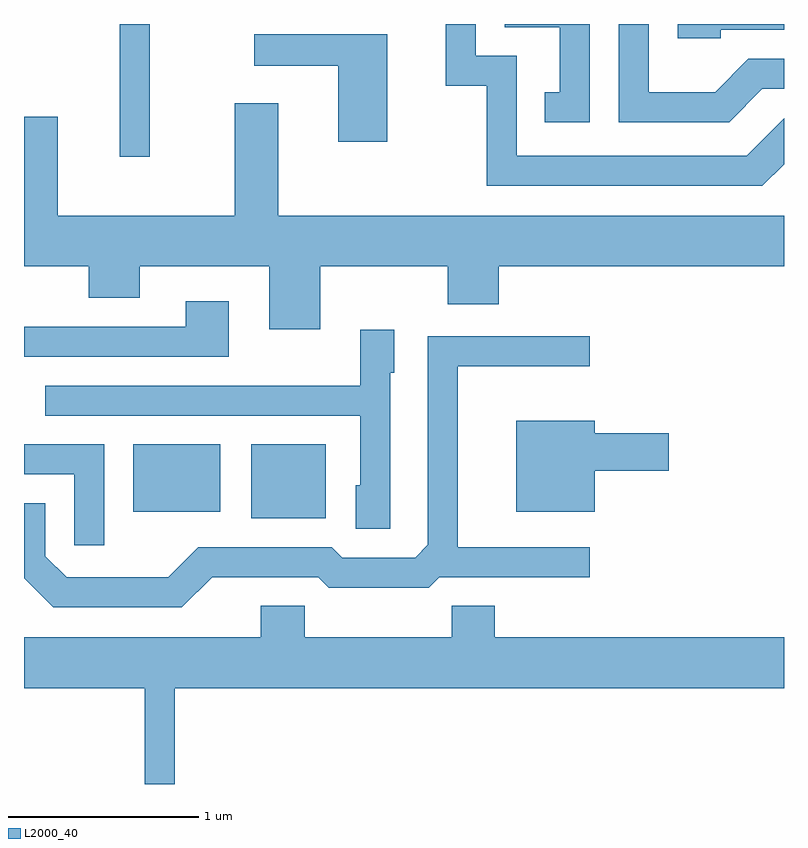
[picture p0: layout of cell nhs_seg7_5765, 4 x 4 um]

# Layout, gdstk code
import gdstk
lib = gdstk.Library(unit=1e-6, precision=1e-09)
def R(c, l, rs):  # rectangles x0, y0, x1, y1
    for r in rs: c.add(gdstk.rectangle(r[:2], r[2:], *l))
def P(c, l, *ps):  # polygons
    for p in ps: c.add(gdstk.Polygon(p, *l))
L2000_40 = (2000, 40)

nhs_seg7_5765 = lib.new_cell('nhs_seg7_5765')
R(nhs_seg7_5765, L2000_40, [(362.806,1719.651,363.199,1720.039), (362.186,1719.686,362.644,1720.039), (362.116,1721.553,362.274,1722.252)])
P(nhs_seg7_5765, L2000_40, [(365.497,1721.911),(365.611,1721.911),(365.611,1722.069),(365.424,1722.069),(365.249,1721.894),(364.899,1721.894),(364.899,1722.252),(364.741,1722.252),(364.741,1721.736),(365.322,1721.736)],
  [(364.589,1722.252),(364.141,1722.252),(364.141,1722.236),(364.431,1722.236),(364.431,1721.894),(364.353,1721.894),(364.353,1721.736),(364.589,1721.736)],
  [(365.279,1722.221),(365.611,1722.221),(365.611,1722.252),(365.051,1722.252),(365.051,1722.176),(365.279,1722.176)],
  [(365.611,1721.515),(365.611,1721.756),(365.414,1721.559),(364.204,1721.559),(364.204,1722.084),(363.989,1722.084),(363.989,1722.252),(363.831,1722.252),(363.831,1721.926),(364.046,1721.926),(364.046,1721.401),(365.497,1721.401)],
  [(363.524,1722.199),(362.823,1722.199),(362.823,1722.031),(363.266,1722.031),(363.266,1721.631),(363.524,1721.631)],
  [(363.169,1720.976),(363.841,1720.976),(363.841,1720.776),(364.109,1720.776),(364.109,1720.976),(365.611,1720.976),(365.611,1721.244),(362.949,1721.244),(362.949,1721.834),(362.721,1721.834),(362.721,1721.244),(361.789,1721.244),(361.789,1721.764),(361.611,1721.764),(361.611,1720.976),(361.951,1720.976),(361.951,1720.811),(362.219,1720.811),(362.219,1720.976),(362.901,1720.976),(362.901,1720.646),(363.169,1720.646)],
  [(362.689,1720.794),(362.461,1720.794),(362.461,1720.659),(361.611,1720.659),(361.611,1720.501),(362.689,1720.501)],
  [(363.539,1720.416),(363.559,1720.416),(363.559,1720.644),(363.381,1720.644),(363.381,1720.349),(361.723,1720.349),(361.723,1720.191),(363.381,1720.191),(363.381,1719.824),(363.356,1719.824),(363.356,1719.596),(363.539,1719.596)],
  [(362.602,1719.341),(363.159,1719.341),(363.214,1719.286),(363.742,1719.286),(363.797,1719.341),(364.588,1719.341),(364.588,1719.499),(363.894,1719.499),(363.894,1720.451),(364.588,1720.451),(364.588,1720.609),(363.736,1720.609),(363.736,1719.512),(363.669,1719.444),(363.287,1719.444),(363.232,1719.499),(362.529,1719.499),(362.369,1719.339),(361.837,1719.339),(361.724,1719.452),(361.724,1719.729),(361.611,1719.729),(361.611,1719.334),(361.764,1719.181),(362.442,1719.181)],
  [(364.614,1719.901),(365.004,1719.901),(365.004,1720.099),(364.614,1720.099),(364.614,1720.164),(364.201,1720.164),(364.201,1719.686),(364.614,1719.686)],
  [(362.034,1720.039),(361.611,1720.039),(361.611,1719.881),(361.876,1719.881),(361.876,1719.508),(362.034,1719.508)],
  [(362.404,1718.756),(365.611,1718.756),(365.611,1719.024),(364.089,1719.024),(364.089,1719.189),(363.861,1719.189),(363.861,1719.024),(363.089,1719.024),(363.089,1719.189),(362.856,1719.189),(362.856,1719.024),(361.611,1719.024),(361.611,1718.756),(362.246,1718.756),(362.246,1718.252),(362.404,1718.252)])

lib.write_gds('nhs_seg7_5765.gds')
